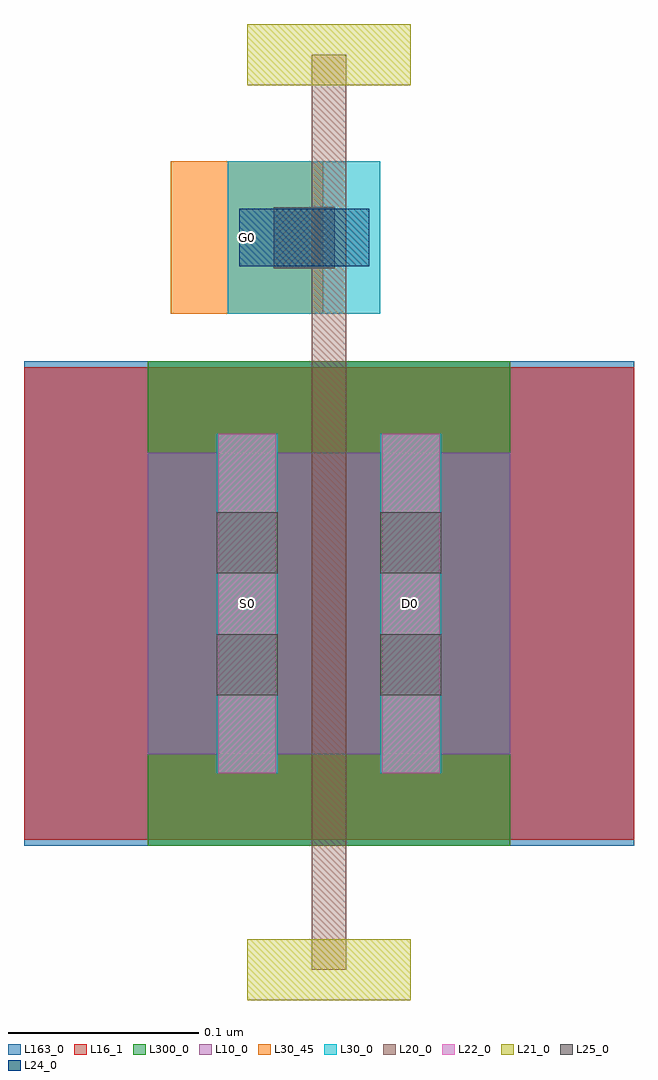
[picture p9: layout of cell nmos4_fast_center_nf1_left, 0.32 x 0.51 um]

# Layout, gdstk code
import gdstk
lib = gdstk.Library(unit=1e-6, precision=5e-10)
def R(c, l, rs):  # rectangles x0, y0, x1, y1
    for r in rs: c.add(gdstk.rectangle(r[:2], r[2:], *l))
L10_0 = (10, 0)
L16_1 = (16, 1)
L20_0 = (20, 0)
L21_0 = (21, 0)
L22_0 = (22, 0)
L24_0 = (24, 0)
L25_0 = (25, 0)
L30_0 = (30, 0)
L30_45 = (30, 45)
L163_0 = (163, 0)
L300_0 = (300, 0)

n1lvt_cdns_548863453661 = lib.new_cell('n1lvt_CDNS_548863453661')
R(n1lvt_cdns_548863453661, L10_0, [(-0.086,0,0,0.158), (0,0,0.018,0.158), (0.018,0,0.104,0.158)])
R(n1lvt_cdns_548863453661, L16_1, [(-0.151,-0.045,0.169,0.203)])
R(n1lvt_cdns_548863453661, L20_0, [(0,-0.048,0.018,0), (0,0,0.018,0.158), (0,0.158,0.018,0.206)])
R(n1lvt_cdns_548863453661, L22_0, [(-0.049,-0.01,-0.019,0.168), (0.037,-0.01,0.067,0.168)])
R(n1lvt_cdns_548863453661, L163_0, [(-0.151,-0.048,0.169,0.206)])
R(n1lvt_cdns_548863453661, L300_0, [(-0.086,-0.048,0.104,0.206)])
n1lvt_cdns_548863453661.add(gdstk.Label('0.158/0.018', (0.009,0.0365), layer=63, texttype=0))
n1lvt_cdns_548863453661.add(gdstk.Label('[@instanceName]', (0.009,0.066), layer=63, texttype=0))

c__nmos4_fast_base_nf1 = lib.new_cell('_nmos4_fast_base_nf1')
R(c__nmos4_fast_base_nf1, L20_0, [(0.034,0,0.052,0.48)])
R(c__nmos4_fast_base_nf1, L21_0, [(0,-0.016,0.086,0.016), (0,0.464,0.086,0.496)])
c__nmos4_fast_base_nf1.add(gdstk.Reference(n1lvt_cdns_548863453661, (0.034,0.113)))

c__sd_base = lib.new_cell('_sd_base')
R(c__sd_base, L25_0, [(-0.016,0.144,0.016,0.176), (-0.016,0.208,0.016,0.24)])
R(c__sd_base, L30_0, [(-0.016,0.103,0.016,0.281)])

c__gate_base_nf1_left = lib.new_cell('_gate_base_nf1_left')
R(c__gate_base_nf1_left, L24_0, [(-0.004,0.369,0.064,0.399)])
R(c__gate_base_nf1_left, L25_0, [(0.014,0.368,0.046,0.4)])
R(c__gate_base_nf1_left, L30_0, [(-0.01,0.344,0.07,0.424)])

nmos4_fast_center_nf1_le = lib.new_cell('nmos4_fast_center_nf1_left')
R(nmos4_fast_center_nf1_le, L30_45, [(-0.016,0.103,0.016,0.281), (0.07,0.103,0.102,0.281), (-0.04,0.344,0.04,0.424)])
nmos4_fast_center_nf1_le.add(gdstk.Reference(c__nmos4_fast_base_nf1, (0,0)))
nmos4_fast_center_nf1_le.add(gdstk.Reference(c__sd_base, (0,0)))
nmos4_fast_center_nf1_le.add(gdstk.Reference(c__sd_base, (0.086,0)))
nmos4_fast_center_nf1_le.add(gdstk.Reference(c__gate_base_nf1_left, (0,0)))
nmos4_fast_center_nf1_le.add(gdstk.Label('D0', (0.086,0.192), layer=30, texttype=45))
nmos4_fast_center_nf1_le.add(gdstk.Label('G0', (0,0.384), layer=30, texttype=45))
nmos4_fast_center_nf1_le.add(gdstk.Label('S0', (0,0.192), layer=30, texttype=45))

lib.write_gds('nmos4_fast_center_nf1_left.gds')
